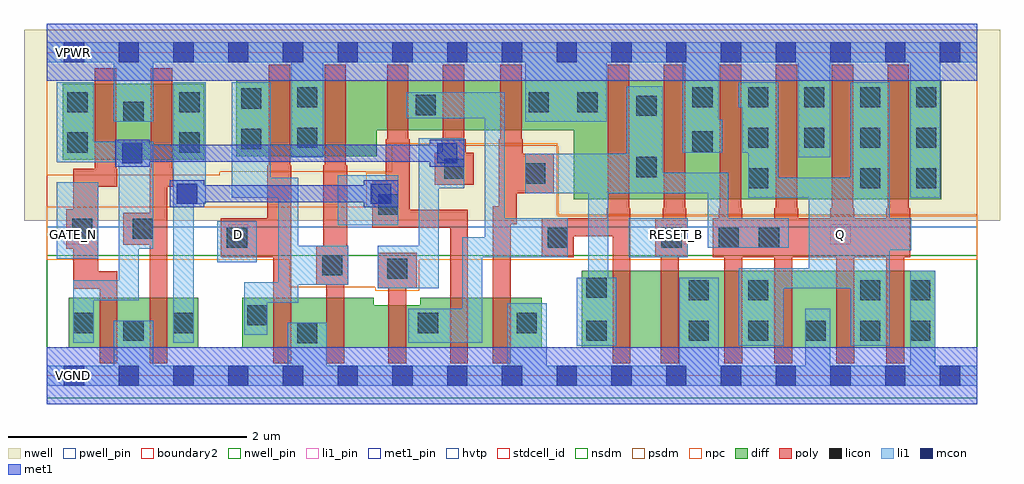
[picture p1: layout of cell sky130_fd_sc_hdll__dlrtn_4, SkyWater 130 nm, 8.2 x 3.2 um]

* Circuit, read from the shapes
.subckt sky130_fd_sc_hdll__dlrtn_4 D GATE_N Q RESET_B VGND VNB VPB VPWR
XM1 VGND GATE_N n1 VNB sky130_fd_pr__nfet_01v8 w=0.42 l=0.15
XM2 n2 n1 VGND VNB sky130_fd_pr__nfet_01v8 w=0.42 l=0.15
XM3 VGND D n3 VNB sky130_fd_pr__nfet_01v8 w=0.42 l=0.15
XM4 n4 n3 VGND VNB sky130_fd_pr__nfet_01v8 w=0.42 l=0.15
XM5 n5 n1 n4 VNB sky130_fd_pr__nfet_01v8 w=0.36 l=0.15
XM6 n6 n2 n5 VNB sky130_fd_pr__nfet_01v8 w=0.42 l=0.15
XM7 VGND n7 n6 VNB sky130_fd_pr__nfet_01v8 w=0.42 l=0.15
XM8 n8 n5 n7 VNB sky130_fd_pr__nfet_01v8 w=0.65 l=0.15
XM9 VGND RESET_B n8 VNB sky130_fd_pr__nfet_01v8 w=0.65 l=0.15
XM10 Q n7 VGND VNB sky130_fd_pr__nfet_01v8 w=0.65 l=0.15 m=4
XM11 VPWR GATE_N n1 VPB sky130_fd_pr__pfet_01v8_hvt w=0.64 l=0.18
XM12 n2 n1 VPWR VPB sky130_fd_pr__pfet_01v8_hvt w=0.64 l=0.18
XM13 VPWR D n3 VPB sky130_fd_pr__pfet_01v8_hvt w=0.64 l=0.18
XM14 n9 n3 VPWR VPB sky130_fd_pr__pfet_01v8_hvt w=0.64 l=0.18
XM15 n5 n2 n9 VPB sky130_fd_pr__pfet_01v8_hvt w=0.42 l=0.18
XM16 n10 n1 n5 VPB sky130_fd_pr__pfet_01v8_hvt w=0.42 l=0.18
XM17 VPWR n7 n10 VPB sky130_fd_pr__pfet_01v8_hvt w=0.42 l=0.18
XM18 n7 n5 VPWR VPB sky130_fd_pr__pfet_01v8_hvt w=1 l=0.18
XM19 VPWR RESET_B n7 VPB sky130_fd_pr__pfet_01v8_hvt w=1 l=0.18
XM20 Q n7 VPWR VPB sky130_fd_pr__pfet_01v8_hvt w=1 l=0.18 m=4
.ends

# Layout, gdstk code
import gdstk
lib = gdstk.Library(unit=1e-6, precision=1e-09)
def R(c, l, rs):  # rectangles x0, y0, x1, y1
    for r in rs: c.add(gdstk.rectangle(r[:2], r[2:], *l))
def A(c, l, x, y, w, h, nx, ny, dx, dy):  # array of equal rectangles
    R(c, l, [(x+i*dx, y+j*dy, x+i*dx+w, y+j*dy+h) for i in range(nx) for j in range(ny)])
def P(c, l, *ps):  # polygons
    for p in ps: c.add(gdstk.Polygon(p, *l))
nwell_pin = (64, 16)
nwell = (64, 20)
diff = (65, 20)
poly = (66, 20)
licon = (66, 44)
li1_pin = (67, 16)
li1 = (67, 20)
mcon = (67, 44)
met1_pin = (68, 16)
met1 = (68, 20)
hvtp = (78, 44)
stdcell_id = (81, 4)
nsdm = (93, 44)
psdm = (94, 20)
npc = (95, 20)
pwell_pin = (122, 16)
boundary2 = (236, 0)

sky130_fd_sc_hdll__dlrtn = lib.new_cell('sky130_fd_sc_hdll__dlrtn_4')
R(sky130_fd_sc_hdll__dlrtn, nwell_pin, [(0.145,2.635,0.315,2.805), (0.145,2.635,0.315,2.805)])
R(sky130_fd_sc_hdll__dlrtn, nwell, [(-0.19,1.305,8.01,2.91)])
R(sky130_fd_sc_hdll__dlrtn, diff, [(0.185,0.235,1.275,0.655), (4.495,0.235,7.465,0.885), (0.135,1.815,1.325,2.455)])
P(sky130_fd_sc_hdll__dlrtn, diff, [(4.16,0.655),(3.14,0.655),(3.14,0.595),(2.75,0.595),(2.75,0.655),(1.645,0.655),(1.645,0.235),(4.16,0.235)],
  [(7.515,2.485),(1.595,2.485),(1.595,1.845),(2.775,1.845),(2.775,2.065),(4.43,2.065),(4.43,1.485),(7.515,1.485)])
P(sky130_fd_sc_hdll__dlrtn, poly, [(0.595,0.88),(0.435,0.88),(0.435,1.59),(0.595,1.59),(0.595,1.74),(0.585,1.74),(0.585,2.585),(0.405,2.585),(0.405,1.74),(0.225,1.74),(0.225,1.4),(0.165,1.4),(0.165,1.07),(0.225,1.07),(0.225,0.73),(0.445,0.73),(0.445,0.105),(0.595,0.105)],
  [(1.065,1.74),(1.055,1.74),(1.055,2.585),(0.875,2.585),(0.875,1.74),(0.865,1.74),(0.865,1.37),(0.645,1.37),(0.645,1.1),(0.865,1.1),(0.865,0.105),(1.015,0.105),(1.015,1.59),(1.065,1.59)],
  [(2.055,1.77),(2.045,1.77),(2.045,2.615),(1.865,2.615),(1.865,1.77),(1.855,1.77),(1.855,1.325),(1.465,1.325),(1.465,0.995),(1.905,0.995),(1.905,0.105),(2.055,0.105)],
  [(2.535,1.095),(2.525,1.095),(2.525,1.77),(2.515,1.77),(2.515,2.615),(2.335,2.615),(2.335,1.77),(2.325,1.77),(2.325,1.095),(2.265,1.095),(2.265,0.765),(2.35,0.765),(2.35,0.105),(2.5,0.105),(2.5,0.765),(2.535,0.765)],
  [(3.11,1.035),(2.78,1.035),(2.78,0.735),(2.87,0.735),(2.87,0.105),(3.02,0.105),(3.02,0.735),(3.11,0.735)],
  [(3.54,1.395),(3.05,1.395),(3.05,1.99),(3.04,1.99),(3.04,2.615),(2.86,2.615),(2.86,1.99),(2.85,1.99),(2.85,1.635),(2.735,1.635),(2.735,1.245),(3.39,1.245),(3.39,0.105),(3.54,0.105)],
  [(3.59,1.875),(3.52,1.875),(3.52,1.99),(3.51,1.99),(3.51,2.615),(3.33,2.615),(3.33,1.99),(3.32,1.99),(3.32,1.875),(3.26,1.875),(3.26,1.605),(3.59,1.605)],
  [(4.26,1.865),(4,1.865),(4,1.99),(3.99,1.99),(3.99,2.615),(3.81,2.615),(3.81,1.99),(3.8,1.99),(3.8,1.425),(3.75,1.425),(3.75,0.105),(3.9,0.105),(3.9,1.275),(3.95,1.275),(3.95,1.535),(4.26,1.535)],
  [(4.905,1.41),(4.895,1.41),(4.895,2.615),(4.715,2.615),(4.715,1.41),(4.705,1.41),(4.705,1.325),(4.16,1.325),(4.16,0.995),(4.43,0.995),(4.43,1.175),(4.755,1.175),(4.755,0.105),(4.905,0.105)],
  [(5.385,1.325),(5.375,1.325),(5.375,1.41),(5.365,1.41),(5.365,2.615),(5.185,2.615),(5.185,1.41),(5.175,1.41),(5.175,1.325),(5.115,1.325),(5.115,0.995),(5.16,0.995),(5.16,0.105),(5.31,0.105),(5.31,0.995),(5.385,0.995)],
  [(7.255,1.41),(7.245,1.41),(7.245,2.615),(7.065,2.615),(7.065,1.41),(7.055,1.41),(7.055,1.325),(6.785,1.325),(6.785,1.41),(6.775,1.41),(6.775,2.615),(6.595,2.615),(6.595,1.41),(6.585,1.41),(6.585,1.325),(6.315,1.325),(6.315,1.41),(6.305,1.41),(6.305,2.615),(6.125,2.615),(6.125,1.41),(6.115,1.41),(6.115,1.325),(5.845,1.325),(5.845,1.41),(5.835,1.41),(5.835,2.615),(5.655,2.615),(5.655,1.41),(5.645,1.41),(5.645,1.325),(5.595,1.325),(5.595,0.995),(5.695,0.995),(5.695,0.105),(5.845,0.105),(5.845,0.995),(6.115,0.995),(6.115,0.105),(6.265,0.105),(6.265,0.995),(6.635,0.995),(6.635,0.105),(6.785,0.105),(6.785,0.995),(7.055,0.995),(7.055,0.105),(7.205,0.105),(7.205,0.995),(7.255,0.995)])
A(sky130_fd_sc_hdll__dlrtn, licon, 5.895, 1.915, 0.17, 0.17, 4, 1, 0.47, 0)
A(sky130_fd_sc_hdll__dlrtn, licon, 5.425, 2.255, 0.17, 0.17, 5, 1, 0.47, 0)
R(sky130_fd_sc_hdll__dlrtn, licon, [(2.105,0.275,2.275,0.445), (0.645,0.295,0.815,0.465), (4.535,0.295,4.705,0.465), (5.395,0.295,5.565,0.465), (5.895,0.295,6.065,0.465), (6.375,0.295,6.545,0.465), (6.835,0.295,7.005,0.465), (7.255,0.295,7.425,0.465), (0.225,0.36,0.395,0.53), (1.065,0.36,1.235,0.53), (3.12,0.36,3.29,0.53), (3.95,0.36,4.12,0.53), (1.685,0.425,1.855,0.595), (5.395,0.635,5.565,0.805), (5.895,0.635,6.065,0.805), (6.835,0.635,7.005,0.805), (7.255,0.635,7.425,0.805), (4.535,0.655,4.705,0.825), (2.86,0.815,3.03,0.985), (2.315,0.845,2.485,1.015), (1.515,1.075,1.685,1.245), (4.21,1.075,4.38,1.245), (5.165,1.075,5.335,1.245), (5.645,1.075,5.815,1.245), (5.985,1.075,6.155,1.245), (0.215,1.15,0.385,1.32), (0.725,1.15,0.895,1.32), (2.785,1.355,2.955,1.525), (5.895,1.575,6.065,1.745), (6.835,1.575,7.005,1.745), (7.305,1.575,7.475,1.745), (4.02,1.615,4.19,1.785), (3.34,1.655,3.51,1.825), (4.955,1.67,5.125,1.84), (0.175,1.875,0.345,2.045), (1.115,1.875,1.285,2.045), (5.425,1.885,5.595,2.055), (1.635,1.905,1.805,2.075), (2.105,1.915,2.275,2.085), (0.645,2.135,0.815,2.305), (4.955,2.185,5.125,2.355), (3.1,2.19,3.27,2.36), (0.175,2.215,0.345,2.385), (1.115,2.215,1.285,2.385), (4.05,2.215,4.22,2.385), (4.46,2.215,4.63,2.385), (1.635,2.245,1.805,2.415), (2.105,2.255,2.275,2.425)])
R(sky130_fd_sc_hdll__dlrtn, li1_pin, [(0.145,1.105,0.315,1.275), (1.525,1.105,1.695,1.275), (5.205,1.105,5.375,1.275), (6.585,1.105,6.755,1.275)])
R(sky130_fd_sc_hdll__dlrtn, li1, [(1.435,0.955,1.765,1.3), (0.085,0.985,0.435,1.625), (4.89,0.995,5.385,1.325), (2.445,1.265,2.955,1.685)])
P(sky130_fd_sc_hdll__dlrtn, li1, [(0.895,1.965),(0.395,1.965),(0.395,2.465),(0.085,2.465),(0.085,1.795),(0.605,1.795),(0.605,0.805),(0.225,0.805),(0.225,0.28),(0.395,0.28),(0.395,0.635),(0.775,0.635),(0.775,1.07),(0.895,1.07)],
  [(1.335,2.465),(1.065,2.465),(1.065,0.28),(1.235,0.28),(1.235,1.445),(1.335,1.445)],
  [(2.535,1.095),(2.115,1.095),(2.115,1.665),(1.885,1.665),(1.885,2.465),(1.555,2.465),(1.555,1.495),(1.945,1.495),(1.945,0.785),(1.66,0.785),(1.66,0.345),(1.855,0.345),(1.855,0.615),(2.115,0.615),(2.115,0.765),(2.535,0.765)],
  [(3.51,1.995),(3.125,1.995),(3.125,1.095),(2.78,1.095),(2.78,0.735),(3.295,0.735),(3.295,1.575),(3.51,1.575)],
  [(4.38,1.325),(3.85,1.325),(3.85,2.385),(3.02,2.385),(3.02,2.165),(3.68,2.165),(3.68,1.165),(3.49,1.165),(3.49,0.565),(3.04,0.565),(3.04,0.28),(3.66,0.28),(3.66,0.995),(4.38,0.995)],
  [(6.235,1.325),(5.725,1.325),(5.725,1.705),(5.175,1.705),(5.175,2.435),(4.875,2.435),(4.875,1.865),(4.02,1.865),(4.02,1.535),(4.55,1.535),(4.55,0.825),(4.455,0.825),(4.455,0.255),(4.785,0.255),(4.785,0.825),(4.72,0.825),(4.72,1.535),(5.555,1.535),(5.555,1.075),(6.235,1.075)],
  [(7.265,1.325),(7.085,1.325),(7.085,2.465),(6.755,2.465),(6.755,1.665),(6.145,1.665),(6.145,2.465),(5.815,2.465),(5.815,2.255),(5.845,2.255),(5.845,1.875),(5.895,1.875),(5.895,1.495),(6.405,1.495),(6.405,0.905),(5.815,0.905),(5.815,0.255),(6.195,0.255),(6.195,0.735),(6.755,0.735),(6.755,0.255),(7.085,0.255),(7.085,1.055),(7.265,1.055)],
  [(7.82,2.805),(0,2.805),(0,2.635),(0.565,2.635),(0.565,2.135),(0.895,2.135),(0.895,2.635),(2.055,2.635),(2.055,1.835),(2.325,1.835),(2.325,2.635),(4.02,2.635),(4.02,2.135),(4.705,2.135),(4.705,2.635),(5.345,2.635),(5.345,1.875),(5.675,1.875),(5.675,2.15),(5.645,2.15),(5.645,2.635),(6.315,2.635),(6.315,1.835),(6.585,1.835),(6.585,2.635),(7.255,2.635),(7.255,1.495),(7.51,1.495),(7.51,2.635),(7.82,2.635)],
  [(7.82,0.085),(7.465,0.085),(7.465,0.885),(7.255,0.885),(7.255,0.085),(6.585,0.085),(6.585,0.565),(6.375,0.565),(6.375,0.085),(5.645,0.085),(5.645,0.825),(5.315,0.825),(5.315,0.085),(4.2,0.085),(4.2,0.61),(3.87,0.61),(3.87,0.085),(2.355,0.085),(2.355,0.445),(2.025,0.445),(2.025,0.085),(0.895,0.085),(0.895,0.465),(0.565,0.465),(0.565,0.085),(0,0.085),(0,-0.085),(7.82,-0.085)])
A(sky130_fd_sc_hdll__dlrtn, mcon, 0.145, -0.085, 0.17, 0.17, 17, 2, 0.46, 2.72)
R(sky130_fd_sc_hdll__dlrtn, mcon, [(1.095,1.445,1.265,1.615), (2.725,1.445,2.895,1.615), (0.635,1.785,0.805,1.955), (3.28,1.785,3.45,1.955)])
R(sky130_fd_sc_hdll__dlrtn, met1_pin, [(0.145,-0.085,0.315,0.085), (0.145,2.635,0.315,2.805)])
P(sky130_fd_sc_hdll__dlrtn, met1, [(2.955,1.645),(2.665,1.645),(2.665,1.6),(1.325,1.6),(1.325,1.645),(1.035,1.645),(1.035,1.415),(1.325,1.415),(1.325,1.46),(2.665,1.46),(2.665,1.415),(2.955,1.415)],
  [(3.51,1.985),(3.22,1.985),(3.22,1.94),(0.865,1.94),(0.865,1.985),(0.575,1.985),(0.575,1.755),(0.865,1.755),(0.865,1.8),(3.22,1.8),(3.22,1.755),(3.51,1.755)])
R(sky130_fd_sc_hdll__dlrtn, hvtp, [(0,1.25,7.82,2.72)])
R(sky130_fd_sc_hdll__dlrtn, stdcell_id, [(0,0,7.82,2.72)])
R(sky130_fd_sc_hdll__dlrtn, nsdm, [(0,-0.19,7.82,1.015)])
P(sky130_fd_sc_hdll__dlrtn, psdm, [(7.82,2.91),(0,2.91),(0,1.685),(1.455,1.685),(1.455,1.715),(2.905,1.715),(2.905,1.935),(4.3,1.935),(4.3,1.355),(7.82,1.355)])
P(sky130_fd_sc_hdll__dlrtn, npc, [(7.82,1.345),(4.29,1.345),(4.29,1.955),(2.85,1.955),(2.85,1.705),(2.685,1.705),(2.685,1.42),(0,1.42),(0,0.975),(2.04,0.975),(2.04,0.745),(2.76,0.745),(2.76,0.715),(3.13,0.715),(3.13,0.975),(7.82,0.975)])
R(sky130_fd_sc_hdll__dlrtn, pwell_pin, [(0.145,-0.085,0.315,0.085), (0.145,-0.085,0.315,0.085)])
R(sky130_fd_sc_hdll__dlrtn, boundary2, [(0,0,7.82,2.72)])
sky130_fd_sc_hdll__dlrtn.add(gdstk.FlexPath([(0,2.72),(7.82,2.72)], 0.48, ends="flush", simple_path=True, layer=68, datatype=20))  # met1
sky130_fd_sc_hdll__dlrtn.add(gdstk.FlexPath([(0,0),(7.82,0)], 0.48, ends="flush", simple_path=True, layer=68, datatype=20))  # met1
sky130_fd_sc_hdll__dlrtn.add(gdstk.Label('RESET_B', (5.29,1.19), layer=67, texttype=5))
sky130_fd_sc_hdll__dlrtn.add(gdstk.Label('D', (1.61,1.19), layer=67, texttype=5))
sky130_fd_sc_hdll__dlrtn.add(gdstk.Label('GATE_N', (0.23,1.19), layer=67, texttype=5))
sky130_fd_sc_hdll__dlrtn.add(gdstk.Label('Q', (6.67,1.19), layer=67, texttype=5))
sky130_fd_sc_hdll__dlrtn.add(gdstk.Label('VGND', (0.23,0), layer=68, texttype=5))
sky130_fd_sc_hdll__dlrtn.add(gdstk.Label('VPWR', (0.23,2.72), layer=68, texttype=5))
sky130_fd_sc_hdll__dlrtn.add(gdstk.Label('VPB', (0.23,2.72), layer=64, texttype=5))
sky130_fd_sc_hdll__dlrtn.add(gdstk.Label('VPB', (0.23,2.72), layer=64, texttype=5))
sky130_fd_sc_hdll__dlrtn.add(gdstk.Label('VNB', (0.23,0), layer=64, texttype=59))
sky130_fd_sc_hdll__dlrtn.add(gdstk.Label('VNB', (0.23,0), layer=64, texttype=59))
sky130_fd_sc_hdll__dlrtn.add(gdstk.Label('dlrtn_4', (0,0), layer=83, texttype=44))

lib.write_gds('sky130_fd_sc_hdll__dlrtn_4.gds')
